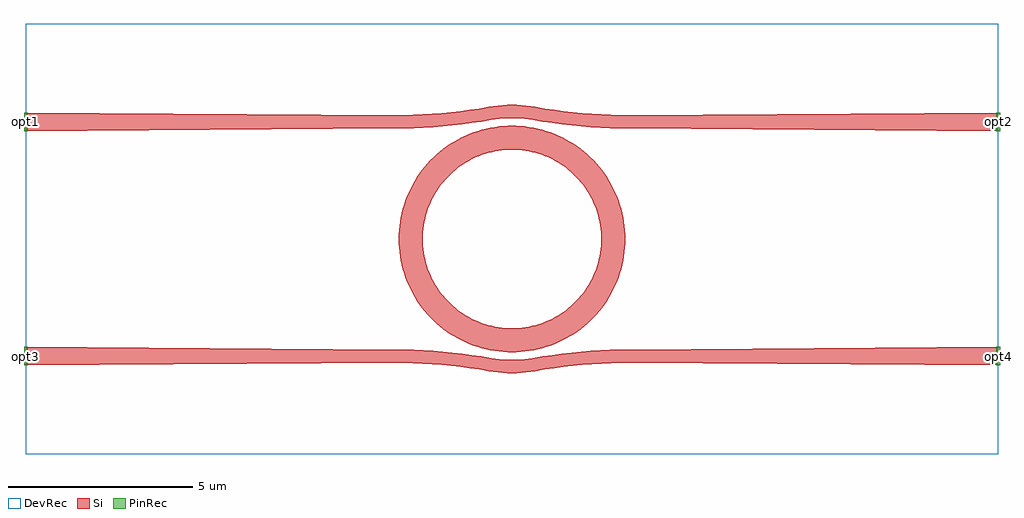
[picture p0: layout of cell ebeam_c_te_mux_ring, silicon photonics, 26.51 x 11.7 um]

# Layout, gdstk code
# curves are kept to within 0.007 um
import gdstk
lib = gdstk.Library(unit=1e-6, precision=1e-09)
def R(c, l, rs):  # rectangles x0, y0, x1, y1
    for r in rs: c.add(gdstk.rectangle(r[:2], r[2:], *l))
def P(c, l, *ps):  # polygons
    for p in ps: c.add(gdstk.Polygon(p, *l))
Si = (1, 0)
PinRec = (1, 10)
DevRec = (68, 0)

ebeam_c_te_mux_ring = lib.new_cell('ebeam_c_te_mux_ring')
R(ebeam_c_te_mux_ring, Si, [(15.629,-3.173,16.279,-3.172)])
P(ebeam_c_te_mux_ring, Si, [(26.408,-0.24),(15.878,-0.159),(15.349,-0.132),(14.821,-0.085),(14.296,-0.021),(13.546,0.094),(13.204,0.112),(12.862,0.094),(12.112,-0.021),(11.323,-0.111),(10.794,-0.148),(10,-0.168),(10,0.189),(10.776,0.209),(11.292,0.245),(12.063,0.333),(12.824,0.449),(13.204,0.469),(13.584,0.449),(14.345,0.333),(15.116,0.245),(15.632,0.209),(16.149,0.191),(26.408,0.26)],
  [(0,-0.24),(0,0.26),(10,0.188),(10,-0.168)],
  [(26.408,-6.606),(16.408,-6.534),(16.408,-6.178),(26.408,-6.106)],
  [(0,-6.606),(0,-6.106),(10,-6.178),(10,-6.534)],
  [(13.834,-6.76),(13.772,-6.408),(14.296,-6.325),(15.085,-6.235),(15.614,-6.198),(16.408,-6.178),(16.408,-6.535),(15.632,-6.555),(15.116,-6.591),(14.602,-6.645)],
  [(13.204,-6.815),(12.824,-6.795),(12.573,-6.76),(12.635,-6.408),(12.862,-6.44),(13.204,-6.458),(13.546,-6.44),(13.773,-6.408),(13.835,-6.76),(13.584,-6.795)],
  [(12.574,-6.76),(11.806,-6.645),(11.292,-6.591),(10.776,-6.555),(10,-6.535),(10,-6.178),(10.794,-6.198),(11.323,-6.235),(12.112,-6.325),(12.636,-6.408)],
  [(10.129,-3.172),(10.149,-2.819),(10.185,-2.587),(10.272,-2.244),(10.352,-2.023),(10.448,-1.808),(10.623,-1.501),(10.758,-1.308),(10.988,-1.04),(11.158,-0.876),(11.435,-0.657),(11.633,-0.529),(11.946,-0.366),(12.276,-0.24),(12.619,-0.153),(12.851,-0.117),(13.204,-0.097),(13.557,-0.117),(13.789,-0.153),(14.132,-0.24),(14.353,-0.32),(14.568,-0.416),(14.875,-0.591),(15.068,-0.726),(15.336,-0.956),(15.5,-1.126),(15.719,-1.403),(15.847,-1.601),(16.01,-1.914),(16.136,-2.244),(16.223,-2.587),(16.259,-2.819),(16.279,-3.172),(15.629,-3.172),(15.613,-2.894),(15.565,-2.619),(15.486,-2.352),(15.377,-2.096),(15.239,-1.854),(15.075,-1.629),(14.886,-1.425),(14.674,-1.243),(14.443,-1.088),(14.28,-0.999),(14.111,-0.923),(13.936,-0.86),(13.574,-0.775),(13.39,-0.754),(13.204,-0.747),(13.018,-0.754),(12.834,-0.775),(12.472,-0.86),(12.297,-0.923),(12.128,-0.999),(11.965,-1.088),(11.734,-1.243),(11.522,-1.425),(11.333,-1.629),(11.169,-1.854),(11.031,-2.096),(10.922,-2.352),(10.843,-2.619),(10.795,-2.894),(10.779,-3.172)],
  [(13.204,-6.248),(12.851,-6.228),(12.619,-6.192),(12.276,-6.105),(12.055,-6.025),(11.84,-5.929),(11.533,-5.754),(11.34,-5.619),(11.072,-5.389),(10.908,-5.219),(10.689,-4.942),(10.561,-4.744),(10.398,-4.431),(10.272,-4.101),(10.185,-3.758),(10.149,-3.526),(10.129,-3.173),(10.779,-3.173),(10.795,-3.451),(10.843,-3.726),(10.922,-3.993),(11.031,-4.249),(11.169,-4.491),(11.333,-4.716),(11.522,-4.92),(11.734,-5.102),(11.965,-5.257),(12.128,-5.346),(12.297,-5.422),(12.472,-5.485),(12.834,-5.57),(13.018,-5.591),(13.204,-5.598),(13.39,-5.591),(13.574,-5.57),(13.936,-5.485),(14.111,-5.422),(14.28,-5.346),(14.443,-5.257),(14.674,-5.102),(14.886,-4.92),(15.075,-4.716),(15.239,-4.491),(15.377,-4.249),(15.486,-3.993),(15.565,-3.726),(15.613,-3.451),(15.629,-3.173),(16.279,-3.173),(16.259,-3.526),(16.223,-3.758),(16.136,-4.101),(16.056,-4.322),(15.96,-4.537),(15.785,-4.844),(15.65,-5.037),(15.42,-5.305),(15.25,-5.469),(14.973,-5.688),(14.775,-5.816),(14.462,-5.979),(14.132,-6.105),(13.789,-6.192),(13.557,-6.228)])
R(ebeam_c_te_mux_ring, DevRec, [(0,-9.025,26.408,2.679)])
ebeam_c_te_mux_ring.add(gdstk.FlexPath([(0.05,0.01),(-0.05,0.01)], 0.5, ends="flush", simple_path=True, layer=1, datatype=10))  # PinRec
ebeam_c_te_mux_ring.add(gdstk.FlexPath([(26.358,0.01),(26.458,0.01)], 0.5, ends="flush", simple_path=True, layer=1, datatype=10))  # PinRec
ebeam_c_te_mux_ring.add(gdstk.FlexPath([(0.05,-6.356),(-0.05,-6.356)], 0.5, ends="flush", simple_path=True, layer=1, datatype=10))  # PinRec
ebeam_c_te_mux_ring.add(gdstk.FlexPath([(26.358,-6.356),(26.458,-6.356)], 0.5, ends="flush", simple_path=True, layer=1, datatype=10))  # PinRec
ebeam_c_te_mux_ring.add(gdstk.Label('opt1', (0,0.01), layer=1, texttype=10))
ebeam_c_te_mux_ring.add(gdstk.Label('opt2', (26.408,0.01), layer=1, texttype=10))
ebeam_c_te_mux_ring.add(gdstk.Label('opt3', (0,-6.356), layer=1, texttype=10))
ebeam_c_te_mux_ring.add(gdstk.Label('opt4', (26.408,-6.356), layer=1, texttype=10))

lib.write_gds('ebeam_c_te_mux_ring.gds')
